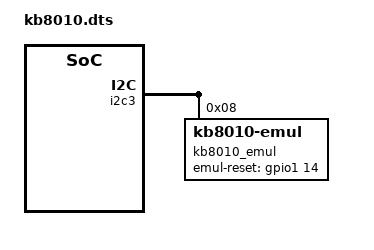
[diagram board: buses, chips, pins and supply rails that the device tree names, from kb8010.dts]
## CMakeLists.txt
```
# Copyright 2024 The ChromiumOS Authors
# Use of this source code is governed by a BSD-style license that can be
# found in the LICENSE file.

# Add source files
target_sources(app PRIVATE src/kb8010.c)
```

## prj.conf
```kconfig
# Copyright 2024 The ChromiumOS Authors
# Use of this source code is governed by a BSD-style license that can be
# found in the LICENSE file.

CONFIG_PLATFORM_EC_USB_PD_TCPM_PS8745=n
CONFIG_PLATFORM_EC_USB_PD_TCPM_PS8805=n
CONFIG_PLATFORM_EC_USB_PD_TCPM_PS8815=n
```

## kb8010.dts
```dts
/* Copyright 2024 The ChromiumOS Authors
 * Use of this source code is governed by a BSD-style license that can be
 * found in the LICENSE file.
 */

/ {
	usbc {
		port1@1 {
			compatible = "named-usbc-port";

			tcpc = <&tcpci_emul>;
			usb-mux-chain-1 {
				usb-muxes = <&kb8010_emul>;
			};
		};
	};

	named-gpios {
		usb_c1_usb_en: usb_c1_usb_en {
			gpios = <&gpio1 14 (GPIO_INPUT|GPIO_OUTPUT)>;
		};
	};
};

&i2c3 {
	status = "okay";

	/delete-node/ bbretimer@42;
	/delete-node/ ps8xxx_emul@b;

	kb8010_emul: kb8010@8 {
		compatible = "zephyr,kb8010-emul", "kandou,kb8010";
		status = "okay";
		reg = <0x08>;

		reset-pin = <&usb_c1_usb_en>;
		dp-en-pin = <&usb_c1_dp_en>;

		/*
		 * TODO: Figure out how to use reset-pin
		 *   directly in emul_kb8010.c.
		 */
		emul-reset-gpios = <&gpio1 14 GPIO_ACTIVE_HIGH>;
	};
};
```

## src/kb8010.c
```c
/* Copyright 2024 The ChromiumOS Authors
 * Use of this source code is governed by a BSD-style license that can be
 * found in the LICENSE file.
 */

#include "driver/retimer/kb8010.h"
#include "driver/retimer/kb8010_public.h"
#include "emul/emul_kb8010.h"
#include "test/drivers/test_state.h"
#include "usb_mux.h"
#include "usb_pd.h"

#include <zephyr/fff.h>
#include <zephyr/ztest.h>

FAKE_VALUE_FUNC(uint32_t, pd_get_tbt_mode_vdo, int, enum tcpci_msg_type);

#define FFF_FAKES_LIST(FAKE) FAKE(pd_get_tbt_mode_vdo)

#define KB8010_PORT 1
#define KB8010_NODE DT_NODELABEL(kb8010_emul)

const struct emul *kb8010_emul = EMUL_DT_GET(KB8010_NODE);

ZTEST(rt_kb8010, test_usb3_modes)
{
	/* enter USB mode */

	usb_mux_set(KB8010_PORT, USB_PD_MUX_USB_ENABLED, USB_SWITCH_CONNECT, 0);

	/* enter USB mode (flipped cable) */

	usb_mux_set(KB8010_PORT, USB_PD_MUX_USB_ENABLED, USB_SWITCH_CONNECT, 1);

	/* enter DP mode */

	usb_mux_set(KB8010_PORT, USB_PD_MUX_DP_ENABLED, USB_SWITCH_CONNECT, 0);

	/* enter USB+DP (a.k.a DPMF) mode */

	usb_mux_set(KB8010_PORT, USB_PD_MUX_USB_ENABLED | USB_PD_MUX_DP_ENABLED,
		    USB_SWITCH_CONNECT, 0);

	/* enter USB4 mode */

	usb_mux_set(KB8010_PORT, USB_PD_MUX_USB4_ENABLED, USB_SWITCH_CONNECT,
		    0);

	/* trigger .enter_low_power_mode() */

	usb_mux_set(KB8010_PORT, USB_PD_MUX_NONE, USB_SWITCH_DISCONNECT, 0);
}

ZTEST(rt_kb8010, test_usb4_modes)
{
	union tbt_mode_resp_cable r = { .raw_value = 0 };

	/* enter USB4 mode, passive cable */

	r.tbt_active_passive = TBT_CABLE_PASSIVE;
	pd_get_tbt_mode_vdo_fake.return_val = r.raw_value;

	usb_mux_set(KB8010_PORT, USB_PD_MUX_USB4_ENABLED, USB_SWITCH_CONNECT,
		    0);

	/* enter USB4 mode, active, bi-directional cable */

	r.tbt_active_passive = TBT_CABLE_ACTIVE;
	r.lsrx_comm = BIDIR_LSRX_COMM;
	pd_get_tbt_mode_vdo_fake.return_val = r.raw_value;

	usb_mux_set(KB8010_PORT, USB_PD_MUX_USB4_ENABLED, USB_SWITCH_CONNECT,
		    0);

	/* enter USB4 mode, active, uni-directional cable */

	r.tbt_active_passive = TBT_CABLE_ACTIVE;
	r.lsrx_comm = UNIDIR_LSRX_COMM;
	pd_get_tbt_mode_vdo_fake.return_val = r.raw_value;

	usb_mux_set(KB8010_PORT, USB_PD_MUX_USB4_ENABLED, USB_SWITCH_CONNECT,
		    0);

	/* trigger .enter_low_power_mode() */

	usb_mux_set(KB8010_PORT, USB_PD_MUX_NONE, USB_SWITCH_DISCONNECT, 0);
}

static void kb8010_test_before(void *data)
{
	FFF_FAKES_LIST(RESET_FAKE);

	kb8010_emul_set_reset(kb8010_emul, false);

	usb_mux_init(KB8010_PORT);

	usb_mux_set(KB8010_PORT, USB_PD_MUX_NONE, USB_SWITCH_DISCONNECT, 0);
}

static void kb8010_test_after(void *data)
{
	usb_mux_set(KB8010_PORT, USB_PD_MUX_NONE, USB_SWITCH_DISCONNECT, 0);
}

ZTEST_SUITE(rt_kb8010, drivers_predicate_post_main, NULL, kb8010_test_before,
	    kb8010_test_after, NULL);
```
